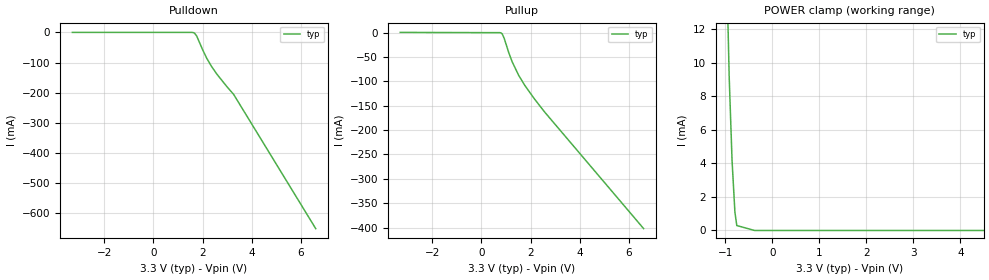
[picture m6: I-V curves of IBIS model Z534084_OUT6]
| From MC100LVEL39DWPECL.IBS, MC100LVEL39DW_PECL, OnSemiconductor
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| (C) COPYRIGHT 1993-2000
| MENTOR GRAPHICS CORPORATION
| ICX STANDARD LIBRARY, ICX PROJECT MODELING,
| ICX CUSTOM MODELING, ICX VENDOR MODEL
| ALL RIGHTS RESERVED.
| THE FOLLOWING ARE TRADEMARKS OR SERVICE MARKS OF
| MENTOR GRAPHICS CORPORATION:ICX (R), ICX STANDARD
| LIBRARY(R), ICX PROJECT MODELING(R), ICX CUSTOM
| MODELING(R), qualityIBIS(TM), MODELVIEWER(TM),
| AND MODELEDITOR(TM)
| ALL COPIES OF SOFTWARE, INCLUDING BUT NOT LIMITED TO
| ANY MODIFICATIONS, ENHANCEMENTS OR DERIVATIVE WORKS,
| MUST CONTAIN ALL MENTOR GRAPHICS CORPORATION'S
| NOTICES AND LEGENDS, INCLUDING THOSE EMBEDDED IN
| SOFTWARE AND THOSE AFFIXED TO SOFTWARE MEDIUM
| AND CONTAINER, AS RECEIVED FROM MENTOR GRAPHICS
| CORPORATION.
| Model Application Version 1.89 2/18/99.
[Model] Z534084_OUT6
Model_type Output_ECL
Vref=1.300V
Rref=50.00ohms
Cref=0.000F
Vmeas=2.207V
C_comp 8.000pF NA NA
| variable typ   min   max
[Voltage Range] 3.300V NA NA
[POWER Clamp Reference] 3.300V NA NA
[Pullup Reference] 3.300V NA NA
[Pulldown Reference] 3.300V NA NA
[GND Clamp Reference] 0.000V NA NA
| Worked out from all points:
|   POWER clamp passes 1 mA (typ) near -0.79 V on its own axis
[GND Clamp]
-3.3V     0A         NA         NA
6.6V      0A         NA         NA
[Pulldown]
-3.3V     0A         NA         NA
1.658V    -1.9mA     NA         NA
1.76V     -12.3mA    NA         NA
2.003V    -58.2mA    NA         NA
2.165V    -85.5mA    NA         NA
2.368V    -113.7mA   NA         NA
2.591V    -139.7mA   NA         NA
3.261V    -205.7mA   NA         NA
6.6V      -650.9mA   NA         NA
[Pullup]
-3.3V     458.6uA    NA         NA
806mV     -800uA     NA         NA
847mV     -2.6mA     NA         NA
928mV     -11.7mA    NA         NA
1.11V     -40.6mA    NA         NA
1.252V    -59.8mA    NA         NA
1.516V    -87.6mA    NA         NA
1.76V     -107.8mA   NA         NA
2.145V    -135.2mA   NA         NA
2.571V    -162.8mA   NA         NA
6.6V      -402.2mA   NA         NA
[POWER Clamp]
-3.3V     504.4mA    NA         NA
-1.02V    21.46mA    NA         NA
-919mV    9.172mA    NA         NA
-858mV    4.18mA     NA         NA
-797mV    1.089mA    NA         NA
-757mV    294.3uA    NA         NA
-378.5mV  0A         NA         NA
6.6V      0A         NA         NA
[Ramp]
| variable typ min max
dV/dt_r 486.7m/222.7p NA NA
dV/dt_f 486.7m/194.5p NA NA
R_load = 500.0Ohms
